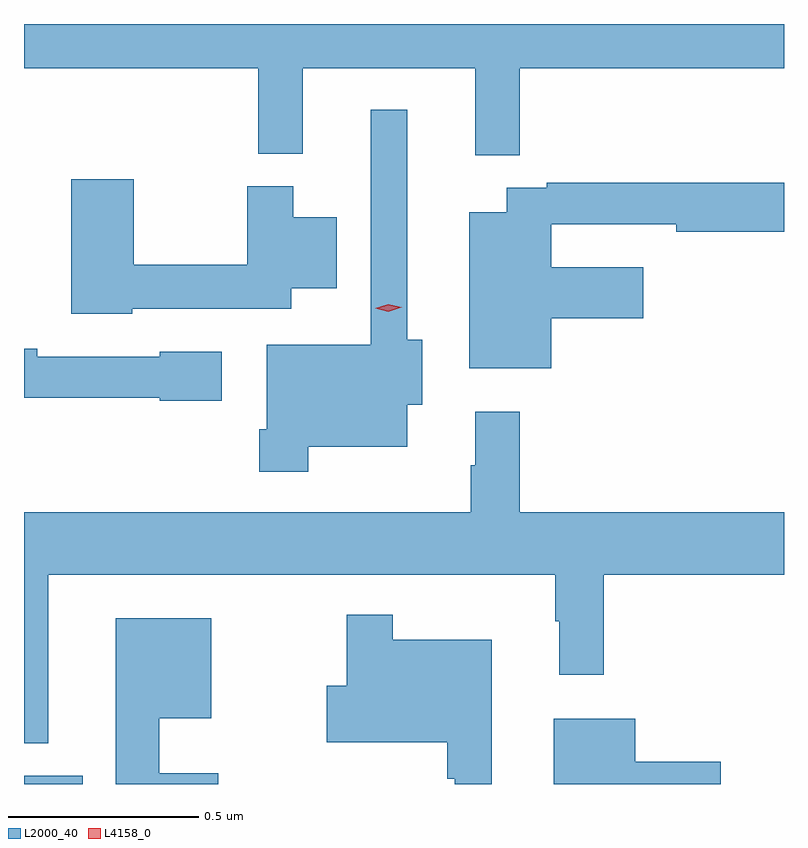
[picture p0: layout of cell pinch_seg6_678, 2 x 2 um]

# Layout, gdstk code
import gdstk
lib = gdstk.Library(unit=1e-6, precision=1e-09)
def R(c, l, rs):  # rectangles x0, y0, x1, y1
    for r in rs: c.add(gdstk.rectangle(r[:2], r[2:], *l))
def P(c, l, *ps):  # polygons
    for p in ps: c.add(gdstk.Polygon(p, *l))
L2000_40 = (2000, 40)
L4158_0 = (4158, 0)

pinch_seg6_678 = lib.new_cell('pinch_seg6_678')
R(pinch_seg6_678, L2000_40, [(461.361,924.141,461.515,924.163)])
P(pinch_seg6_678, L2000_40, [(462.665,926.024),(463.361,926.024),(463.361,926.141),(461.361,926.141),(461.361,926.024),(461.977,926.024),(461.977,925.799),(462.095,925.799),(462.095,926.024),(462.548,926.024),(462.548,925.795),(462.665,925.795)],
  [(462.109,925.028),(462.37,925.028),(462.37,925.139),(462.409,925.139),(462.409,925.31),(462.37,925.31),(462.37,925.915),(462.273,925.915),(462.273,925.297),(462,925.297),(462,925.075),(461.98,925.075),(461.98,924.963),(462.109,924.963)],
  [(461.646,925.392),(462.064,925.392),(462.064,925.445),(462.184,925.445),(462.184,925.633),(462.07,925.633),(462.07,925.714),(461.948,925.714),(461.948,925.508),(461.65,925.508),(461.65,925.732),(461.485,925.732),(461.485,925.379),(461.646,925.379)],
  [(462.748,925.367),(462.991,925.367),(462.991,925.501),(462.748,925.501),(462.748,925.614),(463.078,925.614),(463.078,925.594),(463.361,925.594),(463.361,925.723),(462.736,925.723),(462.736,925.71),(462.632,925.71),(462.632,925.645),(462.533,925.645),(462.533,925.235),(462.748,925.235)],
  [(461.881,925.279),(461.718,925.279),(461.718,925.266),(461.396,925.266),(461.396,925.286),(461.361,925.286),(461.361,925.158),(461.718,925.158),(461.718,925.15),(461.881,925.15)],
  [(461.425,924.692),(462.759,924.692),(462.759,924.569),(462.77,924.569),(462.77,924.429),(462.887,924.429),(462.887,924.692),(463.361,924.692),(463.361,924.856),(462.665,924.856),(462.665,925.12),(462.548,925.12),(462.548,924.98),(462.537,924.98),(462.537,924.856),(461.361,924.856),(461.361,924.248),(461.425,924.248)],
  [(462.592,924.52),(462.331,924.52),(462.331,924.586),(462.21,924.586),(462.21,924.399),(462.158,924.399),(462.158,924.251),(462.475,924.251),(462.475,924.155),(462.495,924.155),(462.495,924.141),(462.592,924.141)],
  [(461.872,924.169),(461.717,924.169),(461.717,924.314),(461.854,924.314),(461.854,924.577),(461.603,924.577),(461.603,924.141),(461.872,924.141)],
  [(463.195,924.2),(462.97,924.2),(462.97,924.313),(462.755,924.313),(462.755,924.141),(463.195,924.141)])
P(pinch_seg6_678, L4158_0, [(462.32,925.384),(462.285,925.393),(462.284,925.393),(462.285,925.393),(462.32,925.404),(462.355,925.396),(462.355,925.396),(462.355,925.395)])

lib.write_gds('pinch_seg6_678.gds')
